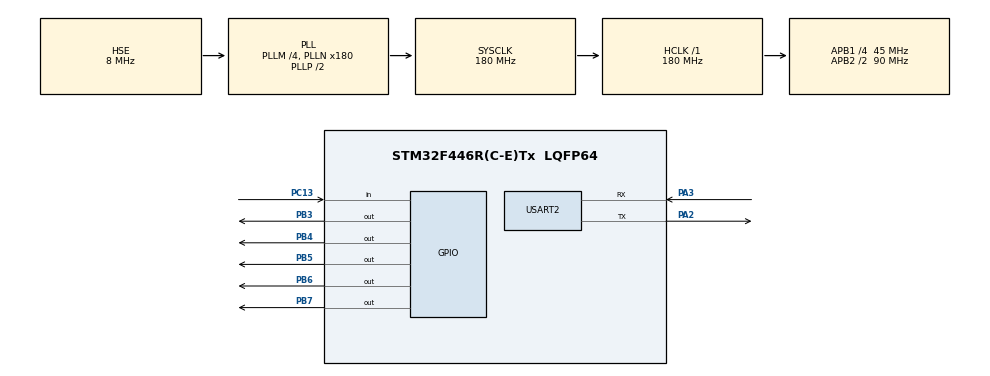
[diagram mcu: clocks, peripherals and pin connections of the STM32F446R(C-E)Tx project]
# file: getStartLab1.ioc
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FREERTOS.Tasks01=Task1,24,128,StartTask1,Default,NULL,Dynamic,NULL,NULL;Task2,24,128,StartTask2,Default,NULL,Dynamic,NULL,NULL;Task3,24,128,StartTask3,Default,NULL,Dynamic,NULL,NULL;Task4,8,128,StartTask4,Default,NULL,Dynamic,NULL,NULL;Task5,8,128,StartTask5,Default,NULL,Dynamic,NULL,NULL;Task6,8,128,StartTask6,Default,NULL,Dynamic,NULL,NULL
FREERTOS.configUSE_NEWLIB_REENTRANT=1
Mcu.Family=STM32F4
Mcu.Name=STM32F446R(C-E)Tx
Mcu.Package=LQFP64
NVIC.PriorityGroup=NVIC_PRIORITYGROUP_4
NVIC.TIM6_DAC_IRQn=true\:15\:0\:false\:false\:true\:false\:false\:true\:true
NVIC.TimeBase=TIM6_DAC_IRQn
NVIC.TimeBaseIP=TIM6
PA13.Mode=Serial_Wire
PA13.Signal=SYS_JTMS-SWDIO
PA14.Mode=Serial_Wire
PA14.Signal=SYS_JTCK-SWCLK
PA2.Mode=Asynchronous
PA2.Signal=USART2_TX
PA3.Mode=Asynchronous
PA3.Signal=USART2_RX
PB3.Signal=GPIO_Output
PB4.Signal=GPIO_Output
PB5.Signal=GPIO_Output
PB6.Signal=GPIO_Output
PB7.Signal=GPIO_Output
PC13.Signal=GPIO_Input
PH0-OSC_IN.Mode=HSE-External-Oscillator
PH0-OSC_IN.Signal=RCC_OSC_IN
PH1-OSC_OUT.Mode=HSE-External-Oscillator
PH1-OSC_OUT.Signal=RCC_OSC_OUT
ProjectManager.HeapSize=0x200
ProjectManager.StackSize=0x400
ProjectManager.TargetToolchain=STM32CubeIDE
RCC.48MHZClocksFreq_Value=84000000
RCC.AHBFreq_Value=180000000
RCC.APB1CLKDivider=RCC_HCLK_DIV4
RCC.APB1Freq_Value=45000000
RCC.APB1TimFreq_Value=90000000
RCC.APB2CLKDivider=RCC_HCLK_DIV2
RCC.APB2Freq_Value=90000000
RCC.APB2TimFreq_Value=180000000
RCC.CortexFreq_Value=180000000
RCC.FLatency-AdvancedSettings=FLASH_LATENCY_5
RCC.HCLKFreq_Value=180000000
RCC.HSE_VALUE=8000000
RCC.HSI_VALUE=16000000
RCC.PLLM=4
RCC.PLLN=180
RCC.PLLSourceVirtual=RCC_PLLSOURCE_HSE
RCC.SYSCLKFreq_VALUE=180000000
RCC.SYSCLKSource=RCC_SYSCLKSOURCE_PLLCLK
RCC.USBFreq_Value=180000000
RCC.VCOOutputFreq_Value=360000000
USART2.VirtualMode=VM_ASYNC
VP_FREERTOS_VS_CMSIS_V2.Mode=CMSIS_V2
VP_SYS_VS_tim6.Mode=TIM6
board=NUCLEO-F446RE

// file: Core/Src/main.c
/* USER CODE BEGIN Header */
/**
  ******************************************************************************
  * @file           : main.c
  * @brief          : Main program body
  ******************************************************************************
  * @attention
  *
  * Copyright (c) 2024 STMicroelectronics.
  * All rights reserved.
  *
  * This software is licensed under terms that can be found in the LICENSE file
  * in the root directory of this software component.
  * If no LICENSE file comes with this software, it is provided AS-IS.
  *
  ******************************************************************************
  */
/* USER CODE END Header */
#include "main.h"
#include "cmsis_os.h"

UART_HandleTypeDef huart2;

/* Definitions for Task1 */
osThreadId_t Task1Handle;
const osThreadAttr_t Task1_attributes = {
  .name = "Task1",
  .stack_size = 128 * 4,
  .priority = (osPriority_t) osPriorityNormal,
};
/* Definitions for Task2 */
osThreadId_t Task2Handle;
const osThreadAttr_t Task2_attributes = {
  .name = "Task2",
  .stack_size = 128 * 4,
  .priority = (osPriority_t) osPriorityNormal,
};
/* Definitions for Task3 */
osThreadId_t Task3Handle;
const osThreadAttr_t Task3_attributes = {
  .name = "Task3",
  .stack_size = 128 * 4,
  .priority = (osPriority_t) osPriorityNormal,
};
/* Definitions for Task4 */
osThreadId_t Task4Handle;
const osThreadAttr_t Task4_attributes = {
  .name = "Task4",
  .stack_size = 128 * 4,
  .priority = (osPriority_t) osPriorityLow,
};
/* Definitions for Task5 */
osThreadId_t Task5Handle;
const osThreadAttr_t Task5_attributes = {
  .name = "Task5",
  .stack_size = 128 * 4,
  .priority = (osPriority_t) osPriorityLow,
};
/* Definitions for Task6 */
osThreadId_t Task6Handle;
const osThreadAttr_t Task6_attributes = {
  .name = "Task6",
  .stack_size = 128 * 4,
  .priority = (osPriority_t) osPriorityLow,
};

void SystemClock_Config(void);
static void MX_GPIO_Init(void);
static void MX_USART2_UART_Init(void);
void StartTask1(void *argument);
void StartTask2(void *argument);
void StartTask3(void *argument);
void StartTask4(void *argument);
void StartTask5(void *argument);
void StartTask6(void *argument);
 int flag = 0;

int main(void)
{

  /* MCU Configuration--------------------------------------------------------*/

  /* Reset of all peripherals, Initializes the Flash interface and the Systick. */
  HAL_Init();

  /* Configure the system clock */
  SystemClock_Config();

  /* Initialize all configured peripherals */
  MX_GPIO_Init();
  MX_USART2_UART_Init();

  /* Init scheduler */
  osKernelInitialize();

  /* Create the thread(s) */
  /* creation of Task1 */
  Task1Handle = osThreadNew(StartTask1, NULL, &Task1_attributes);

  /* creation of Task2 */
  Task2Handle = osThreadNew(StartTask2, NULL, &Task2_attributes);

  /* creation of Task3 */
  Task3Handle = osThreadNew(StartTask3, NULL, &Task3_attributes);

  /* creation of Task4 */
  Task4Handle = osThreadNew(StartTask4, NULL, &Task4_attributes);

  /* creation of Task5 */
  Task5Handle = osThreadNew(StartTask5, NULL, &Task5_attributes);

  /* creation of Task6 */
  Task6Handle = osThreadNew(StartTask6, NULL, &Task6_attributes);

  /* Start scheduler */
  osKernelStart();

  /* We should never get here as control is now taken by the scheduler */
  /* Infinite loop */
  while (1)
  {

  }
}

void SystemClock_Config(void)
{
  RCC_OscInitTypeDef RCC_OscInitStruct = {0};
  RCC_ClkInitTypeDef RCC_ClkInitStruct = {0};

  /** Configure the main internal regulator output voltage
  */
  __HAL_RCC_PWR_CLK_ENABLE();
  __HAL_PWR_VOLTAGESCALING_CONFIG(PWR_REGULATOR_VOLTAGE_SCALE1);

  /** Initializes the RCC Oscillators according to the specified parameters
  * in the RCC_OscInitTypeDef structure.
  */
  RCC_OscInitStruct.OscillatorType = RCC_OSCILLATORTYPE_HSE;
  RCC_OscInitStruct.HSEState = RCC_HSE_ON;
  RCC_OscInitStruct.PLL.PLLState = RCC_PLL_ON;
  RCC_OscInitStruct.PLL.PLLSource = RCC_PLLSOURCE_HSE;
  RCC_OscInitStruct.PLL.PLLM = 4;
  RCC_OscInitStruct.PLL.PLLN = 180;
  RCC_OscInitStruct.PLL.PLLP = RCC_PLLP_DIV2;
  RCC_OscInitStruct.PLL.PLLQ = 2;
  RCC_OscInitStruct.PLL.PLLR = 2;
  if (HAL_RCC_OscConfig(&RCC_OscInitStruct) != HAL_OK)
  {
    Error_Handler();
  }

  /** Activate the Over-Drive mode
  */
  if (HAL_PWREx_EnableOverDrive() != HAL_OK)
  {
    Error_Handler();
  }

  /** Initializes the CPU, AHB and APB buses clocks
  */
  RCC_ClkInitStruct.ClockType = RCC_CLOCKTYPE_HCLK|RCC_CLOCKTYPE_SYSCLK
                              |RCC_CLOCKTYPE_PCLK1|RCC_CLOCKTYPE_PCLK2;
  RCC_ClkInitStruct.SYSCLKSource = RCC_SYSCLKSOURCE_PLLCLK;
  RCC_ClkInitStruct.AHBCLKDivider = RCC_SYSCLK_DIV1;
  RCC_ClkInitStruct.APB1CLKDivider = RCC_HCLK_DIV4;
  RCC_ClkInitStruct.APB2CLKDivider = RCC_HCLK_DIV2;

  if (HAL_RCC_ClockConfig(&RCC_ClkInitStruct, FLASH_LATENCY_5) != HAL_OK)
  {
    Error_Handler();
  }
}

static void MX_USART2_UART_Init(void)
{

  huart2.Instance = USART2;
  huart2.Init.BaudRate = 115200;
  huart2.Init.WordLength = UART_WORDLENGTH_8B;
  huart2.Init.StopBits = UART_STOPBITS_1;
  huart2.Init.Parity = UART_PARITY_NONE;
  huart2.Init.Mode = UART_MODE_TX_RX;
  huart2.Init.HwFlowCtl = UART_HWCONTROL_NONE;
  huart2.Init.OverSampling = UART_OVERSAMPLING_16;
  if (HAL_UART_Init(&huart2) != HAL_OK)
  {
    Error_Handler();
  }

}

static void MX_GPIO_Init(void)
{
  GPIO_InitTypeDef GPIO_InitStruct = {0};

  /* GPIO Ports Clock Enable */
  __HAL_RCC_GPIOC_CLK_ENABLE();
  __HAL_RCC_GPIOH_CLK_ENABLE();
  __HAL_RCC_GPIOA_CLK_ENABLE();
  __HAL_RCC_GPIOB_CLK_ENABLE();

  /*Configure GPIO pin Output Level */
  HAL_GPIO_WritePin(GPIOB, GPIO_PIN_3|GPIO_PIN_4|GPIO_PIN_5
                          |GPIO_PIN_6|GPIO_PIN_7, GPIO_PIN_RESET);

  /*Configure GPIO pin : PC13 */
  GPIO_InitStruct.Pin = GPIO_PIN_13;
  GPIO_InitStruct.Mode = GPIO_MODE_INPUT;
  GPIO_InitStruct.Pull = GPIO_NOPULL;
  HAL_GPIO_Init(GPIOC, &GPIO_InitStruct);

  /*Configure GPIO pins : PB10 PB3 PB4 PB5
                           PB6 PB7 */
  GPIO_InitStruct.Pin = GPIO_PIN_3|GPIO_PIN_4|GPIO_PIN_5
                          |GPIO_PIN_6|GPIO_PIN_7;
  GPIO_InitStruct.Mode = GPIO_MODE_OUTPUT_PP;
  GPIO_InitStruct.Pull = GPIO_NOPULL;
  GPIO_InitStruct.Speed = GPIO_SPEED_FREQ_LOW;
  HAL_GPIO_Init(GPIOB, &GPIO_InitStruct);

}

void StartTask1(void *argument)
{
  /* USER CODE BEGIN 5 */
  /* Infinite loop */

  for(;;)
  {
	  //HAL_UART_Transmit(&huart2, dataTask1, sizeof(dataTask1), 1000);
	  HAL_GPIO_WritePin(GPIOB, GPIO_PIN_3, GPIO_PIN_RESET);
	  //PHASE 1

	  //RED ON
	  if(flag){ //phase 1
		  //phase 2
		  osDelay(3000);

		  //phase 3
		  HAL_GPIO_TogglePin(GPIOB,GPIO_PIN_3);
		  osDelay(1000);

		  //phase 4
		  osDelay(10000);

		  //phase 5
		  osDelay(1000);

		  //phase 6
		  osDelay(2000);

		  //phase 7

		  flag = 0;
	  }

  }
  /* USER CODE END 5 */
}

void StartTask2(void *argument)
{
  /* USER CODE BEGIN StartTask2 */
  /* Infinite loop */

  for(;;)
  {
	  HAL_GPIO_WritePin(GPIOB, GPIO_PIN_4, GPIO_PIN_RESET);
	  if(flag){ //phase 1
	  		  //phase 2
		  	  HAL_GPIO_TogglePin(GPIOB,GPIO_PIN_4); //on
	  		  osDelay(3000);

	  		  //phase 3
	  		  HAL_GPIO_TogglePin(GPIOB,GPIO_PIN_4); //off
	  		  osDelay(1000);

	  		  //phase 4
	  		  osDelay(10000);

	  		  //phase 5
	  		  osDelay(1000);

	  		  //phase 6
	  		  HAL_GPIO_TogglePin(GPIOB,GPIO_PIN_4); //on
	  		  osDelay(2000);
	  	  }
  }
  /* USER CODE END StartTask2 */
}

void StartTask3(void *argument)
{
  /* USER CODE BEGIN StartTask3 */
  /* Infinite loop */

  for(;;)
  {
	  HAL_GPIO_WritePin(GPIOB, GPIO_PIN_5, GPIO_PIN_SET);
	  //on
	  if(flag){ //phase 1
	  		  //phase 2
		  	  HAL_GPIO_TogglePin(GPIOB,GPIO_PIN_5); //off
	  		  osDelay(3000);

	  		  //phase 3
	  		  osDelay(1000);

	  		  //phase 4
	  		  osDelay(10000);

	  		  //phase 5
	  		  osDelay(1000);

	  		  //phase 6
	  		  osDelay(2000);

	  		  //phase 7

	  	  }
  }
  /* USER CODE END StartTask3 */
}

/* USER CODE END Header_StartTask3 */
void StartTask4(void *argument)
{
  /* USER CODE BEGIN StartTask3 */
  /* Infinite loop */

  for(;;)
  {
	  HAL_GPIO_WritePin(GPIOB, GPIO_PIN_6, GPIO_PIN_SET);
	  //on
	  if(flag){ //phase 1
	  		  //phase 2
	  		  osDelay(3000);

	  		  //phase 3
	  		  osDelay(1000);

	  		  //phase 4
	  		 HAL_GPIO_TogglePin(GPIOB,GPIO_PIN_6); //off
	  		  osDelay(10000);

	  		  //phase 5
	  		 HAL_GPIO_TogglePin(GPIOB,GPIO_PIN_6); //on
	  		  osDelay(1000);

	  		  //phase 6
	  		  osDelay(2000);

	  		  //phase 7
	  	  }
  }
  /* USER CODE END StartTask3 */
}

/* USER CODE END Header_StartTask3 */
void StartTask5(void *argument)
{
  /* USER CODE BEGIN StartTask3 */
  /* Infinite loop */

  for(;;)
  {
	  HAL_GPIO_WritePin(GPIOB, GPIO_PIN_7, GPIO_PIN_RESET);
	  //PHASE 1
	  if(flag){ //phase 1
	  		  //phase 2
	  		  osDelay(3000);

	  		  //phase 3
	  		  osDelay(1000);

	  		  //phase 4
	  		 HAL_GPIO_TogglePin(GPIOB,GPIO_PIN_7); //on
	  		  osDelay(10000);

	  		  //phase 5
	  		 HAL_GPIO_TogglePin(GPIOB,GPIO_PIN_7); //off
	  		  osDelay(1000);

	  		  //phase 6
	  		  osDelay(2000);

	  		  //phase 7
	  	  }

  }
  /* USER CODE END StartTask3 */
}

/* USER CODE END Header_StartTask3 */
void StartTask6(void *argument)
{
  /* USER CODE BEGIN StartTask3 */
  /* Infinite loop */
  for(;;)
  {
	  uint8_t str1[] = "I am waiting push-button\r\n";
	  	  HAL_UART_Transmit(&huart2, str1, sizeof(str1), 1000);
	  	  while(HAL_GPIO_ReadPin(GPIOC, GPIO_PIN_13));
	  	  flag = 1;
	  	  uint8_t str2[] = "I got push-button\r\n";
	  	  HAL_UART_Transmit(&huart2, str2, sizeof(str2), 1000);
	  	  osDelay(500);
  }
  /* USER CODE END StartTask3 */
}
void HAL_TIM_PeriodElapsedCallback(TIM_HandleTypeDef *htim)
{
  if (htim->Instance == TIM6) {
    HAL_IncTick();
  }
}

void Error_Handler(void)
{
  __disable_irq();
  while (1)
  {
  }
}
